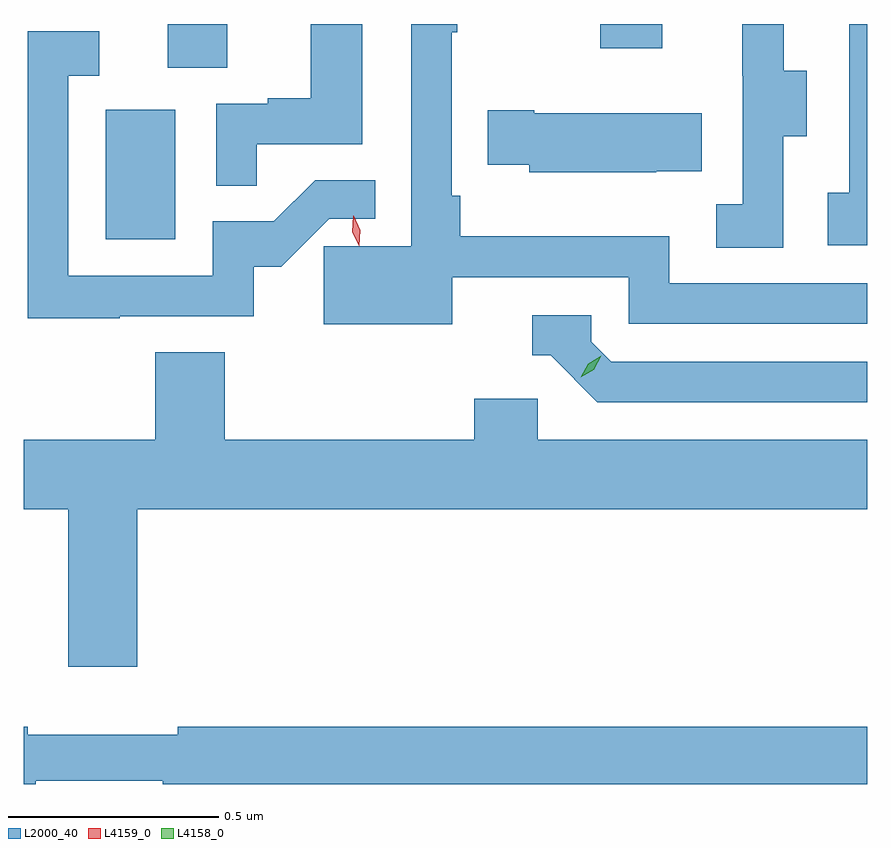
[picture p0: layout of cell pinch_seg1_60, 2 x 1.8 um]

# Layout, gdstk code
import gdstk
lib = gdstk.Library(unit=1e-6, precision=1e-09)
def R(c, l, rs):  # rectangles x0, y0, x1, y1
    for r in rs: c.add(gdstk.rectangle(r[:2], r[2:], *l))
def P(c, l, *ps):  # polygons
    for p in ps: c.add(gdstk.Polygon(p, *l))
L2000_40 = (2000, 40)
L4158_0 = (4158, 0)
L4159_0 = (4159, 0)

pinch_seg1_60 = lib.new_cell('pinch_seg1_60')
R(pinch_seg1_60, L2000_40, [(1064.198,568.356,1064.362,568.663), (1064.345,568.762,1064.485,568.866), (1065.37,568.809,1065.517,568.866)])
P(pinch_seg1_60, L2000_40, [(1066.003,568.866),(1065.96,568.866),(1065.96,568.466),(1065.909,568.466),(1065.909,568.341),(1066.003,568.341)],
  [(1065.804,568.6),(1065.859,568.6),(1065.859,568.755),(1065.805,568.755),(1065.805,568.866),(1065.707,568.866),(1065.707,568.743),(1065.708,568.743),(1065.708,568.439),(1065.645,568.439),(1065.645,568.336),(1065.804,568.336)],
  [(1065.019,568.266),(1065.438,568.266),(1065.438,568.155),(1066.003,568.155),(1066.003,568.251),(1065.534,568.251),(1065.534,568.363),(1065.038,568.363),(1065.038,568.459),(1065.018,568.459),(1065.018,568.847),(1065.031,568.847),(1065.031,568.866),(1064.922,568.866),(1064.922,568.339),(1064.714,568.339),(1064.714,568.154),(1065.019,568.154)],
  [(1064.555,568.581),(1064.806,568.581),(1064.806,568.866),(1064.684,568.866),(1064.684,568.69),(1064.581,568.69),(1064.581,568.677),(1064.46,568.677),(1064.46,568.483),(1064.555,568.483)],
  [(1064.231,568.173),(1064.548,568.173),(1064.548,568.29),(1064.613,568.29),(1064.727,568.404),(1064.837,568.404),(1064.837,568.496),(1064.694,568.496),(1064.596,568.398),(1064.451,568.398),(1064.451,568.269),(1064.109,568.269),(1064.109,568.743),(1064.182,568.743),(1064.182,568.849),(1064.013,568.849),(1064.013,568.168),(1064.231,568.168)],
  [(1065.503,568.517),(1065.611,568.517),(1065.611,568.654),(1065.214,568.654),(1065.214,568.662),(1065.103,568.662),(1065.103,568.532),(1065.201,568.532),(1065.201,568.514),(1065.503,568.514)],
  [(1066.003,568.065),(1065.396,568.065),(1065.348,568.113),(1065.348,568.176),(1065.209,568.176),(1065.209,568.08),(1065.252,568.08),(1065.363,567.969),(1066.003,567.969)],
  [(1064.272,567.716),(1066.003,567.716),(1066.003,567.88),(1065.222,567.88),(1065.222,567.978),(1065.071,567.978),(1065.071,567.88),(1064.48,567.88),(1064.48,568.088),(1064.315,568.088),(1064.315,567.88),(1064.003,567.88),(1064.003,567.716),(1064.108,567.716),(1064.108,567.342),(1064.272,567.342)],
  [(1064.032,567.072),(1064.332,567.072),(1064.332,567.064),(1066.003,567.064),(1066.003,567.2),(1064.368,567.2),(1064.368,567.181),(1064.012,567.181),(1064.012,567.2),(1064.003,567.2),(1064.003,567.064),(1064.032,567.064)])
P(pinch_seg1_60, L4158_0, [(1065.324,568.028),(1065.324,568.028),(1065.341,568.06),(1065.372,568.079),(1065.372,568.079),(1065.372,568.079),(1065.355,568.046),(1065.324,568.028)])
P(pinch_seg1_60, L4159_0, [(1064.798,568.339),(1064.798,568.339),(1064.782,568.373),(1064.784,568.411),(1064.784,568.411),(1064.785,568.411),(1064.801,568.377),(1064.798,568.339)])

lib.write_gds('pinch_seg1_60.gds')
